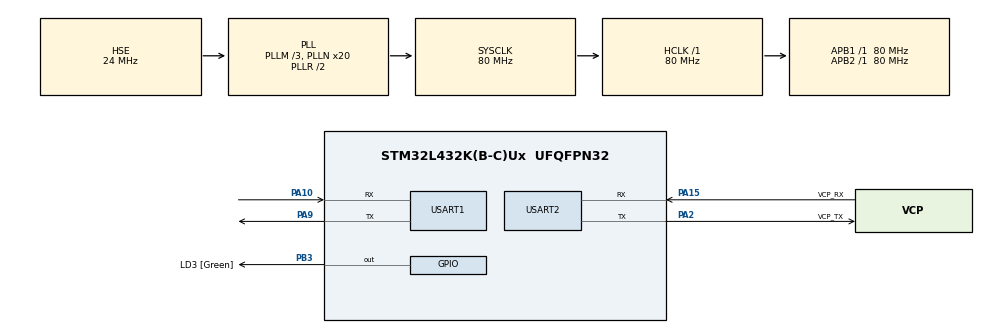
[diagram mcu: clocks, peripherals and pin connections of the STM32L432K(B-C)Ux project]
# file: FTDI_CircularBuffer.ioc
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Dma.Request0=USART1_RX
Dma.Request1=USART1_TX
Dma.Request2=USART2_RX
Dma.Request3=USART2_TX
Dma.USART1_RX.0.Direction=DMA_PERIPH_TO_MEMORY
Dma.USART1_RX.0.Instance=DMA1_Channel5
Dma.USART1_RX.0.MemDataAlignment=DMA_MDATAALIGN_BYTE
Dma.USART1_RX.0.MemInc=DMA_MINC_ENABLE
Dma.USART1_RX.0.Mode=DMA_NORMAL
Dma.USART1_RX.0.PeriphDataAlignment=DMA_PDATAALIGN_BYTE
Dma.USART1_RX.0.PeriphInc=DMA_PINC_DISABLE
Dma.USART1_RX.0.Priority=DMA_PRIORITY_LOW
Dma.USART1_TX.1.Direction=DMA_MEMORY_TO_PERIPH
Dma.USART1_TX.1.Instance=DMA1_Channel4
Dma.USART1_TX.1.MemDataAlignment=DMA_MDATAALIGN_BYTE
Dma.USART1_TX.1.MemInc=DMA_MINC_ENABLE
Dma.USART1_TX.1.Mode=DMA_NORMAL
Dma.USART1_TX.1.PeriphDataAlignment=DMA_PDATAALIGN_BYTE
Dma.USART1_TX.1.PeriphInc=DMA_PINC_DISABLE
Dma.USART1_TX.1.Priority=DMA_PRIORITY_LOW
Dma.USART2_RX.2.Direction=DMA_PERIPH_TO_MEMORY
Dma.USART2_RX.2.Instance=DMA1_Channel6
Dma.USART2_RX.2.MemDataAlignment=DMA_MDATAALIGN_BYTE
Dma.USART2_RX.2.MemInc=DMA_MINC_ENABLE
Dma.USART2_RX.2.Mode=DMA_NORMAL
Dma.USART2_RX.2.PeriphDataAlignment=DMA_PDATAALIGN_BYTE
Dma.USART2_RX.2.PeriphInc=DMA_PINC_DISABLE
Dma.USART2_RX.2.Priority=DMA_PRIORITY_LOW
Dma.USART2_TX.3.Direction=DMA_MEMORY_TO_PERIPH
Dma.USART2_TX.3.Instance=DMA1_Channel7
Dma.USART2_TX.3.MemDataAlignment=DMA_MDATAALIGN_BYTE
Dma.USART2_TX.3.MemInc=DMA_MINC_ENABLE
Dma.USART2_TX.3.Mode=DMA_NORMAL
Dma.USART2_TX.3.PeriphDataAlignment=DMA_PDATAALIGN_BYTE
Dma.USART2_TX.3.PeriphInc=DMA_PINC_DISABLE
Dma.USART2_TX.3.Priority=DMA_PRIORITY_LOW
Mcu.Family=STM32L4
Mcu.Name=STM32L432K(B-C)Ux
Mcu.Package=UFQFPN32
NVIC.DMA1_Channel4_IRQn=true\:0\:0\:false\:false\:true\:false\:true
NVIC.DMA1_Channel5_IRQn=true\:0\:0\:false\:false\:true\:false\:true
NVIC.DMA1_Channel6_IRQn=true\:0\:0\:false\:false\:true\:false\:true
NVIC.DMA1_Channel7_IRQn=true\:0\:0\:false\:false\:true\:false\:true
NVIC.PriorityGroup=NVIC_PRIORITYGROUP_4
NVIC.RCC_IRQn=true\:0\:0\:false\:false\:true\:true\:false
NVIC.USART1_IRQn=true\:0\:0\:false\:false\:true\:true\:true
NVIC.USART2_IRQn=true\:0\:0\:false\:false\:true\:true\:true
PA0.GPIO_Label=MCO [High speed clock in]
PA0.Mode=HSE-External-Clock-Source-for-LittleOrca
PA0.Signal=RCC_CK_IN
PA10.Mode=Asynchronous
PA10.Signal=USART1_RX
PA13\ (JTMS-SWDIO).GPIO_Label=SWDIO
PA13\ (JTMS-SWDIO).Mode=Serial_Wire
PA13\ (JTMS-SWDIO).Signal=SYS_JTMS-SWDIO
PA14\ (JTCK-SWCLK).GPIO_Label=SWCLK
PA14\ (JTCK-SWCLK).Mode=Serial_Wire
PA14\ (JTCK-SWCLK).Signal=SYS_JTCK-SWCLK
PA15\ (JTDI).GPIO_Label=VCP_RX
PA15\ (JTDI).Mode=Asynchronous
PA15\ (JTDI).Signal=USART2_RX
PA2.GPIO_Label=VCP_TX
PA2.Mode=Asynchronous
PA2.Signal=USART2_TX
PA9.Mode=Asynchronous
PA9.Signal=USART1_TX
PB3\ (JTDO-TRACESWO).GPIO_Label=LD3 [Green]
PB3\ (JTDO-TRACESWO).Signal=GPIO_Output
PC14-OSC32_IN\ (PC14).Signal=RCC_OSC32_IN
PC15-OSC32_OUT\ (PC15).Signal=RCC_OSC32_OUT
ProjectManager.HeapSize=0x200
ProjectManager.StackSize=0x400
ProjectManager.TargetToolchain=STM32CubeIDE
RCC.ADCFreq_Value=32000000
RCC.AHBFreq_Value=80000000
RCC.APB1Freq_Value=80000000
RCC.APB1TimFreq_Value=80000000
RCC.APB2Freq_Value=80000000
RCC.APB2TimFreq_Value=80000000
RCC.CortexFreq_Value=80000000
RCC.HCLKFreq_Value=80000000
RCC.HSE_VALUE=24000000
RCC.HSI16_VALUE=16000000
RCC.HSI48_VALUE=48000000
RCC.HSICalibrationValue=24
RCC.HSI_VALUE=16000000
RCC.LSE_VALUE=32768
RCC.MSI_VALUE=4000000
RCC.PLLM=3
RCC.PLLMUL=RCC_PLLMUL_4
RCC.PLLN=20
RCC.PLLSourceVirtual=RCC_PLLSOURCE_HSE
RCC.SYSCLKFreq_VALUE=80000000
RCC.SYSCLKSource=RCC_SYSCLKSOURCE_PLLCLK
RCC.USBFreq_Value=32000000
RCC.VCOOutputFreq_Value=160000000
RTC.Date=17
RTC.Format=RTC_FORMAT_BCD
RTC.Month=RTC_MONTH_NOVEMBER
RTC.StoreOperation=RTC_STOREOPERATION_SET
RTC.WeekDay=RTC_WEEKDAY_TUESDAY
USART1.VirtualMode-Asynchronous=VM_ASYNC
USART2.VirtualMode-Asynchronous=VM_ASYNC
VP_RTC_VS_RTC_Activate.Mode=RTC_Enabled
VP_RTC_VS_RTC_Calendar.Mode=RTC_Calendar
board=NUCLEO-L432KC

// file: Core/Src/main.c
/* USER CODE BEGIN Header */
/**
  ******************************************************************************
  * @file           : main.c
  * @brief          : Main program body
  ******************************************************************************
  * @attention
  *
  * <h2><center>&copy; Copyright (c) 2020 STMicroelectronics.
  * All rights reserved.</center></h2>
  *
  * This software component is licensed by ST under BSD 3-Clause license,
  * the "License"; You may not use this file except in compliance with the
  * License. You may obtain a copy of the License at:
  *                        opensource.org/licenses/BSD-3-Clause
  *
  ******************************************************************************
  */
/* USER CODE END Header */
#include "main.h"
#include "dma.h"
#include "rtc.h"
#include "usart.h"
#include "gpio.h"

/* USER CODE BEGIN Includes */
#include <string.h>
#include <stdio.h>
#include "UartRingbuffer_multi.h"
/* USER CODE END Includes */

/* USER CODE BEGIN PTD */
//int __io_putchar(int ch);
//int _write(int file, char *ptr, int len);
/* USER CODE END PTD */

/* USER CODE BEGIN PM */
#define device_uart &huart1
#define pc_uart &huart2
/* USER CODE END PM */

void SystemClock_Config(void);

/* USER CODE BEGIN 0 */
uint8_t UART2_rxBuffer[12] = {0};
/* USER CODE END 0 */

int main(void)
{
  /* USER CODE BEGIN 1 */
	extern uint32_t _scpy_info_;
	extern uint32_t _ecpy_info_;
	uint32_t cpy_len = _ecpy_info_ - _scpy_info_;
  /* USER CODE END 1 */

  /* MCU Configuration--------------------------------------------------------*/

  /* Reset of all peripherals, Initializes the Flash interface and the Systick. */
  HAL_Init();

  /* Configure the system clock */

  SystemClock_Config();

  /* Initialize all configured peripherals */
  MX_GPIO_Init();
  MX_DMA_Init();
  MX_RTC_Init();
  MX_USART1_UART_Init();
  MX_USART2_UART_Init();
  /* USER CODE BEGIN 2 */
  //printf("Sistema iniciado...\r\n");
  //char print[] = "Hola mundo \r\n";
  //HAL_UART_Transmit(&huart2, (uint8_t* )print, sizeof(print), 100);

  //HAL_UART_Receive_DMA(&huart2, UART2_rxBuffer, 12);
  Ringbuf_init();
  /* USER CODE END 2 */

  /* Infinite loop */
  /* USER CODE BEGIN WHILE */
  while (1)
  {
	    if (IsDataAvailable(pc_uart))
	    {
	     int data = Uart_read(pc_uart);
	     Uart_write(data, device_uart);
	    }

	    if (IsDataAvailable(device_uart))
	    {
	     int data = Uart_read(device_uart);
	     Uart_write(data, pc_uart);
	    }
    /* USER CODE END WHILE */
  }
}

void SystemClock_Config(void)
{
  RCC_OscInitTypeDef RCC_OscInitStruct = {0};
  RCC_ClkInitTypeDef RCC_ClkInitStruct = {0};
  RCC_PeriphCLKInitTypeDef PeriphClkInit = {0};

  /** Initializes the RCC Oscillators according to the specified parameters
  * in the RCC_OscInitTypeDef structure.
  */
  RCC_OscInitStruct.OscillatorType = RCC_OSCILLATORTYPE_LSI|RCC_OSCILLATORTYPE_HSE;
  RCC_OscInitStruct.HSEState = RCC_HSE_BYPASS;
  RCC_OscInitStruct.LSIState = RCC_LSI_ON;
  RCC_OscInitStruct.PLL.PLLState = RCC_PLL_ON;
  RCC_OscInitStruct.PLL.PLLSource = RCC_PLLSOURCE_HSE;
  RCC_OscInitStruct.PLL.PLLM = 3;
  RCC_OscInitStruct.PLL.PLLN = 20;
  RCC_OscInitStruct.PLL.PLLP = RCC_PLLP_DIV7;
  RCC_OscInitStruct.PLL.PLLQ = RCC_PLLQ_DIV2;
  RCC_OscInitStruct.PLL.PLLR = RCC_PLLR_DIV2;
  if (HAL_RCC_OscConfig(&RCC_OscInitStruct) != HAL_OK)
  {
    Error_Handler();
  }
  /** Initializes the CPU, AHB and APB buses clocks
  */
  RCC_ClkInitStruct.ClockType = RCC_CLOCKTYPE_HCLK|RCC_CLOCKTYPE_SYSCLK
                              |RCC_CLOCKTYPE_PCLK1|RCC_CLOCKTYPE_PCLK2;
  RCC_ClkInitStruct.SYSCLKSource = RCC_SYSCLKSOURCE_PLLCLK;
  RCC_ClkInitStruct.AHBCLKDivider = RCC_SYSCLK_DIV1;
  RCC_ClkInitStruct.APB1CLKDivider = RCC_HCLK_DIV1;
  RCC_ClkInitStruct.APB2CLKDivider = RCC_HCLK_DIV1;

  if (HAL_RCC_ClockConfig(&RCC_ClkInitStruct, FLASH_LATENCY_4) != HAL_OK)
  {
    Error_Handler();
  }
  PeriphClkInit.PeriphClockSelection = RCC_PERIPHCLK_RTC|RCC_PERIPHCLK_USART1
                              |RCC_PERIPHCLK_USART2;
  PeriphClkInit.Usart1ClockSelection = RCC_USART1CLKSOURCE_PCLK2;
  PeriphClkInit.Usart2ClockSelection = RCC_USART2CLKSOURCE_PCLK1;
  PeriphClkInit.RTCClockSelection = RCC_RTCCLKSOURCE_LSI;
  if (HAL_RCCEx_PeriphCLKConfig(&PeriphClkInit) != HAL_OK)
  {
    Error_Handler();
  }
  /** Configure the main internal regulator output voltage
  */
  if (HAL_PWREx_ControlVoltageScaling(PWR_REGULATOR_VOLTAGE_SCALE1) != HAL_OK)
  {
    Error_Handler();
  }
}

/* USER CODE BEGIN 4 */
/*int _write(int file, char *ptr, int len)
{
	while(HAL_UART_GetState(&huart2) == HAL_UART_STATE_BUSY_TX){}
	HAL_UART_Transmit_DMA(&huart2, (uint8_t *) ptr, len);
	return len;
}*/

/* USER CODE END 4 */

void Error_Handler(void)
{
}

/************************ (C) COPYRIGHT STMicroelectronics *****END OF FILE****/
